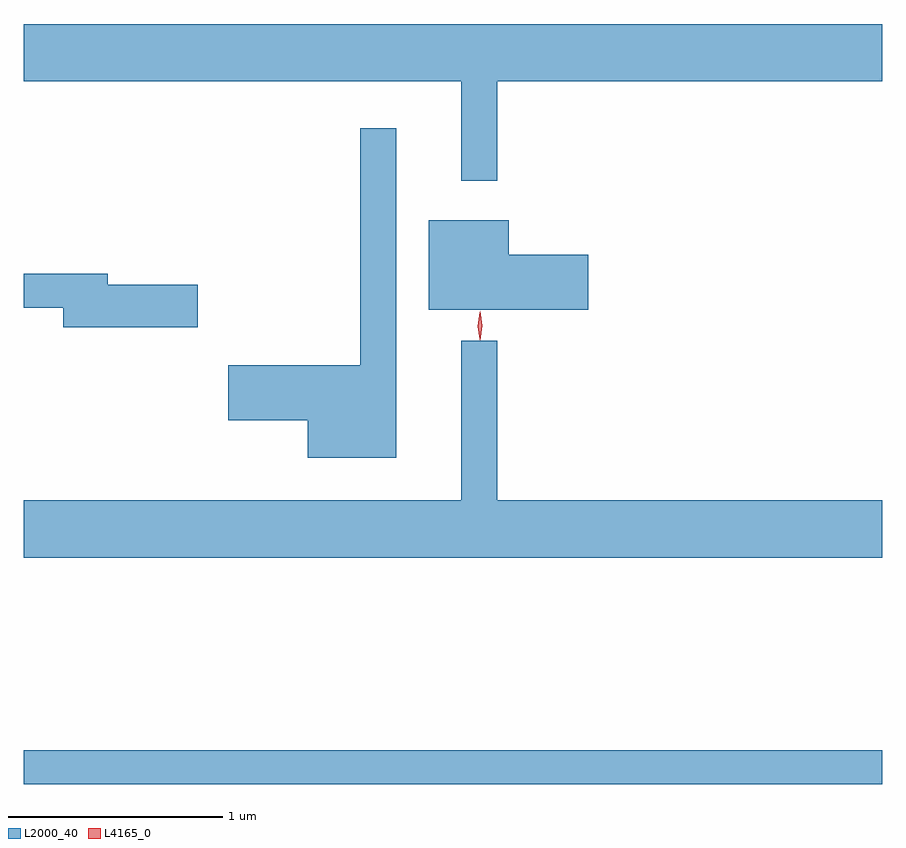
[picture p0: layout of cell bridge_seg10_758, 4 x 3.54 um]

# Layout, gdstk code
import gdstk
lib = gdstk.Library(unit=1e-6, precision=1e-09)
def R(c, l, rs):  # rectangles x0, y0, x1, y1
    for r in rs: c.add(gdstk.rectangle(r[:2], r[2:], *l))
def P(c, l, *ps):  # polygons
    for p in ps: c.add(gdstk.Polygon(p, *l))
L2000_40 = (2000, 40)
L4165_0 = (4165, 0)

bridge_seg10_758 = lib.new_cell('bridge_seg10_758')
R(bridge_seg10_758, L2000_40, [(508.863,2183.901,512.863,2184.059)])
P(bridge_seg10_758, L2000_40, [(511.069,2187.176),(512.863,2187.176),(512.863,2187.444),(508.863,2187.444),(508.863,2187.176),(510.901,2187.176),(510.901,2186.713),(511.069,2186.713)],
  [(510.599,2186.958),(510.431,2186.958),(510.431,2185.854),(509.816,2185.854),(509.816,2185.596),(510.186,2185.596),(510.186,2185.421),(510.599,2185.421)],
  [(511.494,2186.369),(511.124,2186.369),(511.124,2186.529),(510.751,2186.529),(510.751,2186.111),(511.494,2186.111)],
  [(509.674,2186.229),(509.254,2186.229),(509.254,2186.279),(508.863,2186.279),(508.863,2186.121),(509.046,2186.121),(509.046,2186.031),(509.674,2186.031)],
  [(512.863,2185.224),(511.069,2185.224),(511.069,2185.968),(510.901,2185.968),(510.901,2185.224),(508.863,2185.224),(508.863,2184.956),(512.863,2184.956)])
P(bridge_seg10_758, L4165_0, [(510.99,2185.97),(510.99,2185.97),(510.98,2186.038),(510.99,2186.106),(510.99,2186.106),(510.991,2186.106),(511,2186.038),(510.991,2185.97)],
  [(510.988,2185.973),(510.987,2185.974),(510.978,2186.036),(510.987,2186.1),(510.988,2186.1),(510.988,2186.1),(510.998,2186.036),(510.988,2185.974)])

lib.write_gds('bridge_seg10_758.gds')
